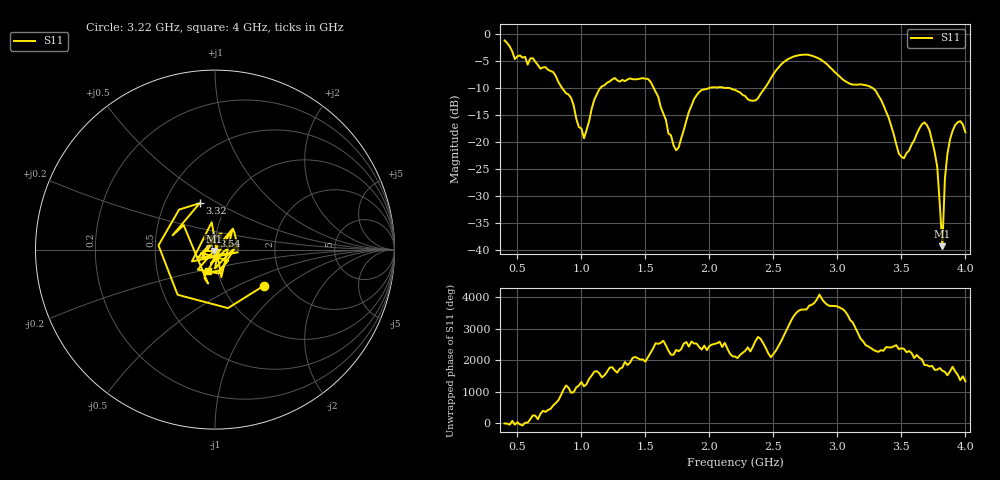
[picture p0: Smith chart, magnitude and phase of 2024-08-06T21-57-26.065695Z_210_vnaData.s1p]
!Created with skrf (http://scikit-rf.org).
# Hz S RI R 50.0
!freq ReS11 ImS11
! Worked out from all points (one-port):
!   181 points, 400 MHz to 4 GHz, reference 50 ohm
!   lowest |S11| = -39.2 dB at 3.82 GHz (marker M1), VSWR 1.02, Z = 49.2 - j0.78 ohm
!   |S11| at or under -10 dB: 851.4 MHz to 1.146 GHz (294.5 MHz wide, 29.5 % of centre); 1.567 GHz to 1.99 GHz (423.9 MHz wide, 23.8 % of centre); 3.279 GHz to end of sweep (the widest 3 of 4)
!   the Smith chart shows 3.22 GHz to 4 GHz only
!   S11 on the Smith chart (normalised r, x): 3.22 GHz: 1.56, -0.71; 3.32 GHz: 0.74, +0.41; 3.54 GHz: 0.97, +0.15; 4 GHz: 0.90, -0.21
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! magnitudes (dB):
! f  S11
! 400 MHz  -1.1
! 480 MHz  -4.6
! 860 MHz  -10.3
! 920 MHz  -11.8
! 1.02 GHz  -19.2
! 1.14 GHz  -10.2
! 1.3 GHz  -8.8
! 1.52 GHz  -8.2
! 1.76 GHz  -20.9
! 1.92 GHz  -10.7
! 2.2 GHz  -10.3
! 2.36 GHz  -12.2
! 2.66 GHz  -4.1
! 2.84 GHz  -4.3
! 3.1 GHz  -9.2
! 3.22 GHz  -9.4
! 3.32 GHz  -11.3
! 3.48 GHz  -22.1
! 3.54 GHz  -22.0
! 3.56 GHz  -21.5
! 3.66 GHz  -16.7
! 3.72 GHz  -17.8
! 3.78 GHz  -24.6
! 3.82 GHz  -39.2
! 3.84 GHz  -26.7
! 3.88 GHz  -19.4
! 3.94 GHz  -16.3
! 4 GHz  -18.1
